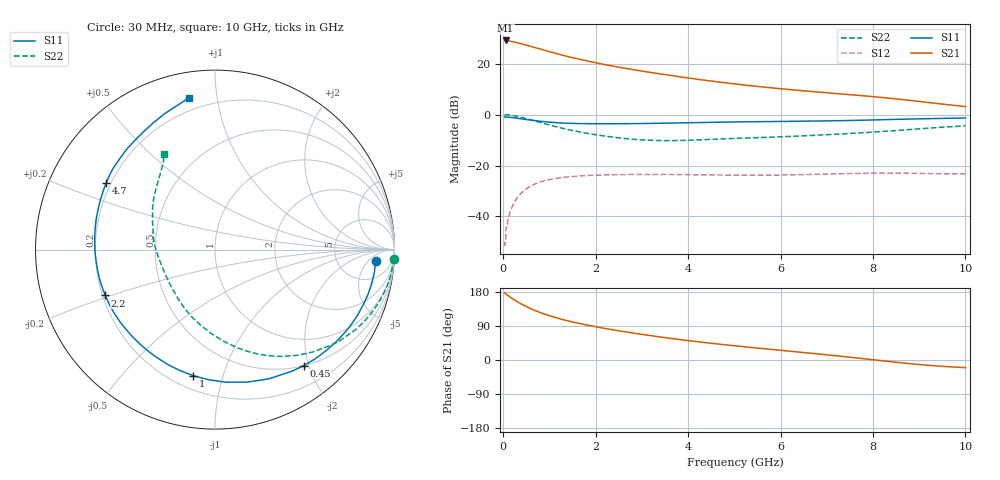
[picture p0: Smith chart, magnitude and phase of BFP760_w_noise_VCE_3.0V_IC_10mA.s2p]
! Infineon Technologies  Discrete & RF Semiconductors
! BFP760
! VCE =  3.0 V,  IC =  10 mA
! Common Emitter S-Parameters:  Nov 2012
# GHz  S  MA  R  50
!  f  S11  S21  S12  S22
! GHz  MAG  ANG  MAG  ANG  MAG  ANG  MAG  ANG
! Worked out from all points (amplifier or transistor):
!   99 points, 30 MHz to 10 GHz, reference 50 ohm
!   highest |S21| = 29.2 dB at 50 MHz (marker M1)
!   |S21| within 3 dB of that: start of sweep to 727.5 MHz
!   unconditionally stable (mu >= 1): 5.471 GHz to end of sweep
!   at 350 MHz: K = 0.13, MSG = 29.8 dB, |S12| = -31.6 dB
!   at 3.5 GHz: K = 0.68, MSG = 19.6 dB, |S12| = -23.5 dB
!   at 10 GHz: K = 1.17, MAG = 10.7 dB, |S12| = -23.3 dB
!   lowest NFmin = 0.48 dB at 900 MHz
!   S11 on the Smith chart (normalised r, x): 30 MHz: 13, -9; 450 MHz: 0.50, -1.92; 1 GHz: 0.28, -0.80; 2.2 GHz: 0.21, -0.19; 4.7 GHz: 0.18, +0.27; 10 GHz: 0.13, +0.83
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0.03  0.9011 -3.9  28.29 176.9  0.0026 74.5  0.9964 -2.9
0.04  0.8998 -5.1  28.31 176.2  0.0031 88.3  0.9948 -3.7
0.05  0.8959 -6.4  28.68 174.7  0.003 86.7  0.9912 -4.4
0.06  0.8971 -7.7  28.46 173.9  0.0056 84.8  0.9934 -5.4
0.15  0.884 -18.9  27.7 165.9  0.0123 78.1  0.9753 -13.4
0.25  0.863 -30.8  26.53 157.9  0.0196 72.3  0.9415 -21.8
0.35  0.8375 -42.0  25.15 150.6  0.0263 66.6  0.9024 -29.5
0.45  0.8141 -52.6  23.83 144.0  0.0324 61.7  0.8584 -36.6
0.6  0.78 -67.4  21.88 135.3  0.0399 54.1  0.7883 -46.4
0.7  0.7596 -76.4  20.63 130.1  0.0439 50.1  0.7448 -52.3
0.8  0.7415 -85.1  19.47 125.2  0.0474 46.3  0.7028 -57.9
1  0.7128 -99.9  17.26 116.8  0.0529 39.7  0.6261 -68.1
1.3  0.6827 -118.6  14.58 106.3  0.0583 32.2  0.5337 -81.2
1.7  0.6657 -138.3  11.95 95.0  0.0627 25.2  0.4476 -96.3
2.2  0.6624 -157.3  9.611 83.2  0.0653 18.8  0.3792 -113.9
2.7  0.6646 -172.3  7.954 73.2  0.0666 14.3  0.3349 -130.0
3.4  0.6771 170.5  6.301 60.7  0.0667 9.9  0.3096 -152.1
4.7  0.7106 148.6  4.334 41.5  0.065 5.9  0.3321 178.2
5.1  0.7206 144.1  3.927 36.4  0.0647 5.7  0.3433 172.4
6.7  0.7478 129.8  2.833 17.3  0.067 5.8  0.391 153.0
8.5  0.8072 110.4  2.04 -6.0  0.0709 1.1  0.4864 131.4
10  0.8583 99.8  1.44 -20.2  0.0685 -0.0  0.6038 118.2
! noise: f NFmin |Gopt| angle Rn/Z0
0.9  0.48  0.22  28  0.1
1.8  0.54  0.16  58  0.09
2.4  0.59  0.14  85  0.08
3.5  0.73  0.12  129  0.08
5.5  0.97  0.28  -140  0.08
8  1.38  0.41  -95  0.25
